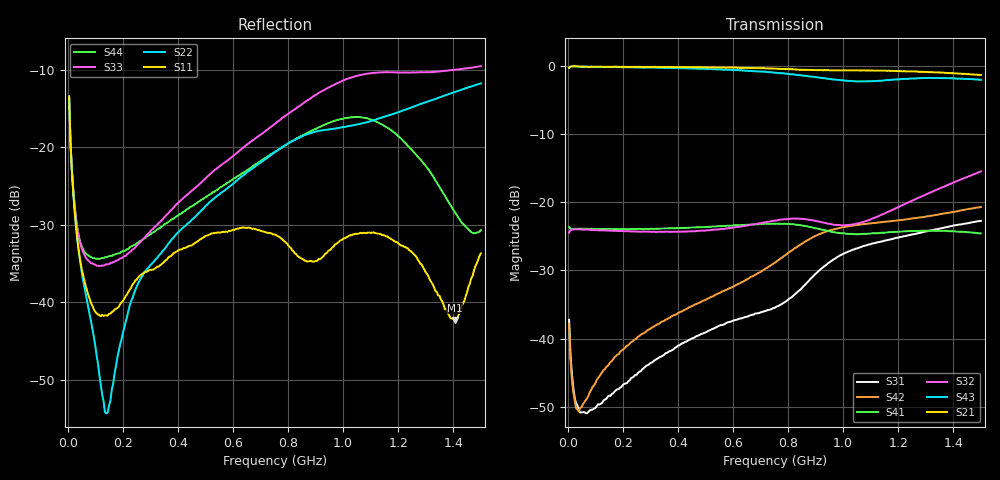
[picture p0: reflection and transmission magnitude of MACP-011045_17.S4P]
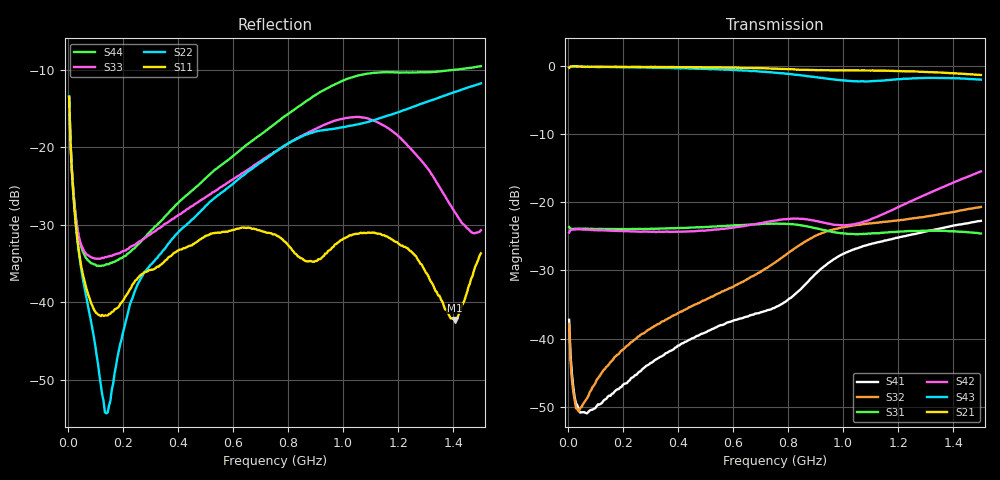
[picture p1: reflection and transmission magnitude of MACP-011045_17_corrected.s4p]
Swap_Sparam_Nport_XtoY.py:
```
import numpy as np
import matplotlib.pyplot as plt
import skrf as rf
import os

# ------User's parameters------

N = 4          # Number of ports in the Touchstone file
X = 3          # First port to swap (1-based)
Y = 4          # Second port to swap (1-based)
in_filename = "Sprams MACP-011045\MACP-011045_17.S4P"
out_filename = "Sprams MACP-011045_corrected\MACP-011045_17_corrected.s4p"

#------Functions--------------

def reorder_network_ports(ntwk: rf.Network, new_order: list) -> rf.Network:
    """ Return a copy of `ntwk` with ports reordered according to new_order. """

    # validate
    N = ntwk.nports
    if len(new_order) != N:
        raise ValueError(f"new_order length {len(new_order)} != number of ports {N}")
    if sorted(new_order) != list(range(N)):
        raise ValueError("new_order must be a permutation of 0..N-1 (zero-based indices)")
    
    # copy network
    new_ntwk = ntwk.copy()
    
    # reorder S (shape: nfreq x N x N)
    s = new_ntwk.s  # view to underlying array
    # Use fancy indexing to permute both axes
    s_reordered = s[:, new_order][:, :, new_order]   # first reorder columns, then rows (or vice-versa)
    
    # assign back
    new_ntwk.s = s_reordered
    return new_ntwk

#------Main--------

if __name__ == "__main__":

  ntwk = rf.Network(in_filename)
  print(f"Loaded: {in_filename}  -- ports: {ntwk.nports}, freq points: {len(ntwk.frequency)}")

  new_order = list(range(N))
  new_order[X-1], new_order[Y-1] = new_order[Y-1], new_order[X-1]  # swap X and Y (1-based to 0-based
  corrected = reorder_network_ports(ntwk, new_order)

  # Save corrected file
  corrected.write_touchstone(os.path.splitext(out_filename)[0])
  print(f"Wrote corrected file: {out_filename}")
```
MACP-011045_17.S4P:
!Agilent Technologies,E5071B,JP1KK00267,A.09.10
!Date: Fri Sep 22 11:03:05 2017
!Data & Calibration Information:
!Freq	S11:SOLT4(ON)	S12:SOLT4(ON)	S13:SOLT4(ON)	S14:SOLT4(ON)
!	S21:SOLT4(ON)	S22:SOLT4(ON)	S23:SOLT4(ON)	S24:SOLT4(ON)
!	S31:SOLT4(ON)	S32:SOLT4(ON)	S33:SOLT4(ON)	S34:SOLT4(ON)
!	S41:SOLT4(ON)	S42:SOLT4(ON)	S43:SOLT4(ON)	S44:SOLT4(ON)
! "David Morgan-soldered to Test PCB SM1, calibration OSLT PCB 1000029771 Edge launch SMA connectors, port 1-pin1,port 2-pin6,port 3-pin4, port 4-pin3 ENA E5071B"
# Hz S dB R 50
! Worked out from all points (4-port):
!   300 points, 5 MHz to 1.5 GHz, reference 50 ohm
!   strongest paths, dB at 5 MHz, 380 MHz, 755 MHz, 1.13 GHz, 1.5 GHz:
!     S21: -0.2, -0.1, -0.4, -0.7, -1.3
!     S43: -0.2, -0.3, -1.0, -2.2, -2.0
!     S32: -24.4, -24.3, -22.7, -22.0, -15.5
!     S41: -23.6, -23.8, -23.1, -24.5, -24.6
!     S42: -37.8, -36.7, -28.8, -23.0, -20.7
!     S31: -37.2, -41.7, -35.4, -25.8, -22.7
!   lowest |S11| = -42.3 dB at 1.405 GHz (marker M1), VSWR 1.02, Z = 49.6 + j0.646 ohm
!   |S11| at or under -10 dB: start of sweep to end of sweep
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5000000  -13.52 103.1  -0.24 12.1  -37.22 124.5  -23.66 -179.1
         -0.24 12.0  -13.44 102.0  -24.40 25.0  -37.88 106.6
         -37.24 124.6  -24.43 24.9  -13.39 102.3  -0.24 12.0
         -23.63 -179.1  -37.85 106.8  -0.25 12.0  -13.49 102.7
1.405e9  -42.30 122.0  -1.09 -47.2  -23.44 30.0  -24.24 2.7
         -1.06 -47.2  -12.85 -74.1  -17.04 51.2  -21.36 14.8
         -23.38 30.4  -17.00 51.3  -9.98 -68.6  -1.79 -51.4
         -24.25 2.4  -21.36 14.5  -1.81 -51.5  -28.35 -89.7
1.5e9  -33.68 50.8  -1.33 -50.4  -22.77 16.1  -24.55 -14.3
       -1.30 -50.5  -11.74 -76.9  -15.48 48.6  -20.65 7.7
       -22.72 16.5  -15.46 48.6  -9.52 -71.4  -1.98 -55.9
       -24.57 -14.5  -20.68 7.5  -2.02 -56.0  -30.69 -42.2
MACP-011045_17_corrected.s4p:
!Agilent Technologies,E5071B,JP1KK00267,A.09.10
!Date: Fri Sep 22 11:03:05 2017
!Data & Calibration Information:
!Freq	S11:SOLT4(ON)	S12:SOLT4(ON)	S13:SOLT4(ON)	S14:SOLT4(ON)
!	S21:SOLT4(ON)	S22:SOLT4(ON)	S23:SOLT4(ON)	S24:SOLT4(ON)
!	S31:SOLT4(ON)	S32:SOLT4(ON)	S33:SOLT4(ON)	S34:SOLT4(ON)
!	S41:SOLT4(ON)	S42:SOLT4(ON)	S43:SOLT4(ON)	S44:SOLT4(ON)
! "David Morgan-soldered to Test PCB SM1, calibration OSLT PCB 1000029771 Edge launch SMA connectors, port 1-pin1,port 2-pin6,port 3-pin4, port 4-pin3 ENA E5071B"
! Created with skrf 1.8.0 (http://scikit-rf.org).
# Hz S RI R 50.0
!freq ReS11 ImS11 ReS12 ImS12 ReS13 ImS13
! ReS14 ImS14
! ReS21 ImS21 ReS22 ImS22 ReS23 ImS23
! ReS24 ImS24
! ReS31 ImS31 ReS32 ImS32 ReS33 ImS33
! ReS34 ImS34
! ReS41 ImS41 ReS42 ImS42 ReS43 ImS43
! ReS44 ImS44
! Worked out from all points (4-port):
!   300 points, 5 MHz to 1.5 GHz, reference 50 ohm
!   strongest paths, dB at 5 MHz, 380 MHz, 755 MHz, 1.13 GHz, 1.5 GHz:
!     S21: -0.2, -0.1, -0.4, -0.7, -1.3
!     S43: -0.2, -0.3, -1.0, -2.2, -2.0
!     S42: -24.4, -24.3, -22.7, -22.0, -15.5
!     S31: -23.6, -23.8, -23.1, -24.5, -24.6
!     S32: -37.8, -36.7, -28.8, -23.0, -20.7
!     S41: -37.2, -41.7, -35.4, -25.8, -22.7
!   lowest |S11| = -42.3 dB at 1.405 GHz (marker M1), VSWR 1.02, Z = 49.6 + j0.646 ohm
!   |S11| at or under -10 dB: start of sweep to end of sweep
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5000000  -0.0479 0.2055  0.9516 0.2032  -0.0656 -0.000977  -0.00779 0.0114
         0.9516 0.2029  -0.0444 0.208  -0.00365 0.0122  0.0546 0.0254
         -0.0658 -0.00104  -0.0037 0.0123  -0.0465 0.2063  0.9504 0.2023
         -0.00781 0.0113  0.0545 0.0253  0.9514 0.2023  -0.0454 0.2091
1.405e9  -0.00407 0.00651  0.5999 -0.647  0.0613 0.00294  0.0583 0.0336
         0.6014 -0.6494  0.0625 -0.2189  0.0826 0.0219  0.0881 0.1096
         0.0612 0.00258  0.0827 0.0214  0.0002 -0.0382  0.5053 -0.6351
         0.0585 0.0343  0.0883 0.1102  0.5076 -0.6366  0.1157 -0.2952
1.5e9  0.0131 0.016  0.5468 -0.6607  0.0574 -0.0147  0.0699 0.0202
       0.5476 -0.6643  0.0585 -0.2521  0.092 0.0125  0.1113 0.1261
       0.0572 -0.0148  0.0917 0.0121  0.0216 -0.0196  0.4428 -0.6577
       0.0701 0.0208  0.1116 0.1265  0.4458 -0.6591  0.1064 -0.3168
